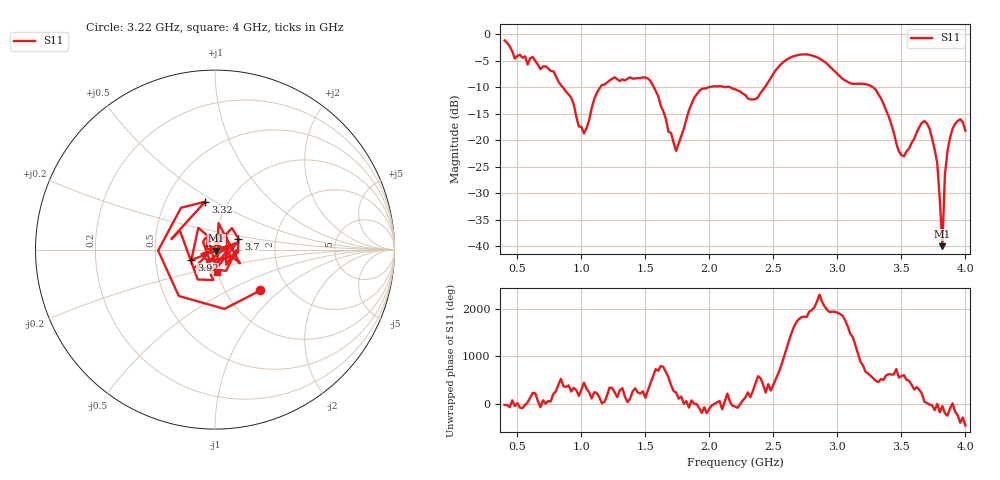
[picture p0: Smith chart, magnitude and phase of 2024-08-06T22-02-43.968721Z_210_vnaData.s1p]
!Created with skrf (http://scikit-rf.org).
# Hz S RI R 50.0
!freq ReS11 ImS11
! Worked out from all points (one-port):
!   181 points, 400 MHz to 4 GHz, reference 50 ohm
!   lowest |S11| = -40.0 dB at 3.82 GHz (marker M1), VSWR 1.02, Z = 50.8 - j0.652 ohm
!   |S11| at or under -10 dB: 856.3 MHz to 1.146 GHz (290 MHz wide, 29 % of centre); 1.567 GHz to 1.99 GHz (422.5 MHz wide, 23.8 % of centre); 3.281 GHz to end of sweep (the widest 3 of 4)
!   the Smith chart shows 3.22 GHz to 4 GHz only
!   S11 on the Smith chart (normalised r, x): 3.22 GHz: 1.45, -0.75; 3.32 GHz: 0.78, +0.45; 3.7 GHz: 1.29, +0.16; 3.92 GHz: 0.76, -0.09; 4 GHz: 0.99, -0.25
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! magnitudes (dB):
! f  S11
! 400 MHz  -1.1
! 480 MHz  -4.5
! 620 MHz  -4.3
! 860 MHz  -10.1
! 1.02 GHz  -18.7
! 1.16 GHz  -9.5
! 1.3 GHz  -8.8
! 1.54 GHz  -8.8
! 1.74 GHz  -22.0
! 1.76 GHz  -20.6
! 1.92 GHz  -10.7
! 2.2 GHz  -10.3
! 2.36 GHz  -12.2
! 2.66 GHz  -4.1
! 2.86 GHz  -4.5
! 3.1 GHz  -9.2
! 3.22 GHz  -9.4
! 3.32 GHz  -11.3
! 3.48 GHz  -22.1
! 3.56 GHz  -21.5
! 3.66 GHz  -16.7
! 3.7 GHz  -16.8
! 3.78 GHz  -24.3
! 3.82 GHz  -40.0
! 3.84 GHz  -26.5
! 3.88 GHz  -19.5
! 3.92 GHz  -16.8
! 4 GHz  -18.1
